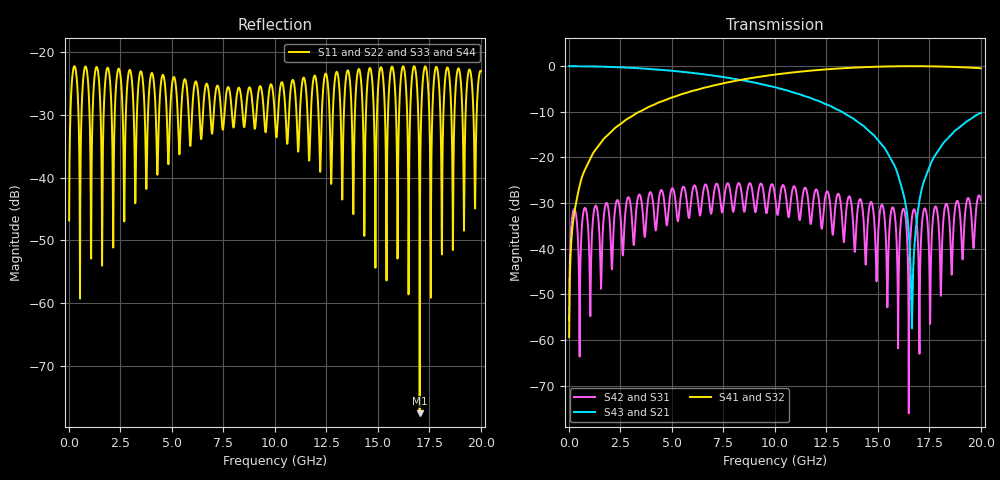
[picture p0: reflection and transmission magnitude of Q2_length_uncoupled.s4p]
! Touchstone generated by fitter/viewer
# HZ S  RI R 5.000000e+001
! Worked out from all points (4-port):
!   2000 points, 10 MHz to 20 GHz, reference 50 ohm
!   strongest paths, dB at 10 MHz, 5.01 GHz, 10.01 GHz, 15.01 GHz, 20 GHz:
!     S41: -59.4, -6.9, -1.9, -0.1, -0.5
!     S32: -59.4, -6.9, -1.9, -0.1, -0.5
!     S43: 0.0, -1.0, -4.6, -16.3, -10.2
!     S21: 0.0, -1.0, -4.6, -16.3, -10.2
!     S42: -55.6, -26.8, -28.6, -37.2, -29.3
!     S31: -55.6, -26.8, -28.6, -37.2, -29.3
!   lowest |S11| = -77.6 dB at 17.03 GHz (marker M1), VSWR 1.00, Z = 50 - j0.0102 ohm
!   |S11| at or under -10 dB: start of sweep to end of sweep
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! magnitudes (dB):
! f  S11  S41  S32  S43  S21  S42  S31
! 10 MHz  -46.8  -59.4  -59.4  0.0  0.0  -55.6  -55.6
! 620 MHz  -28.9  -24.5  -24.5  0.0  0.0  -35.8  -35.8
! 2.75 GHz  -31.4  -11.8  -11.8  -0.3  -0.3  -31.6  -31.6
! 14.24 GHz  -27.5  -0.2  -0.2  -12.9  -12.9  -30.7  -30.7
! 16.65 GHz  -24.2  0.0  0.0  -57.5  -57.5  -33.3  -33.3
! 17.03 GHz  -77.6  0.0  0.0  -29.1  -29.1  -52.6  -52.6
! 20 GHz  -23.0  -0.5  -0.5  -10.2  -10.2  -29.3  -29.3
